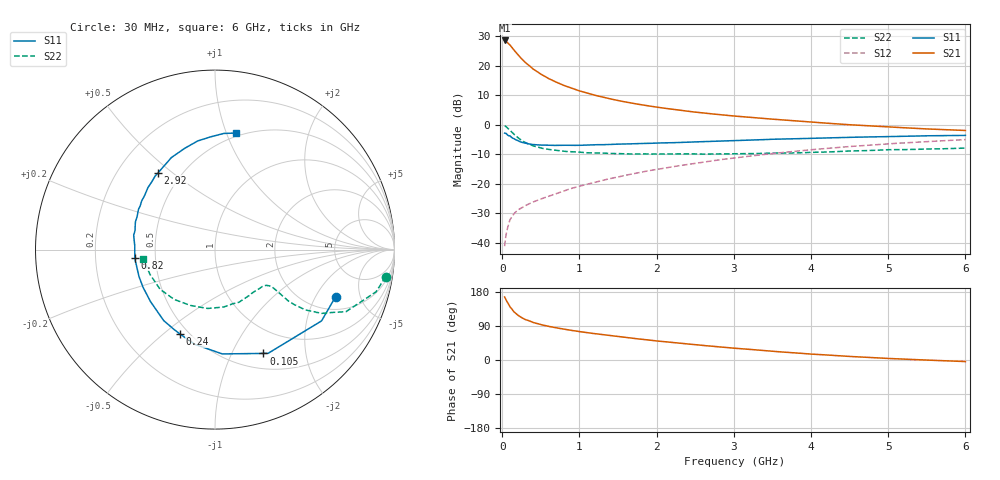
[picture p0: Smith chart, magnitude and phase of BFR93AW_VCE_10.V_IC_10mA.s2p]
! Infineon Technologies  Discrete & RF Semiconductors
! BFR93AW
! VCE =  10. V,  IC =  10 mA
! Common Emitter S-Parameters:  Nov 2015
# GHz  S  MA  R  50
!  f  S11  S21  S12  S22
! GHz  MAG  ANG  MAG  ANG  MAG  ANG  MAG  ANG
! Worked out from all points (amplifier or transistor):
!   206 points, 30 MHz to 6 GHz, reference 50 ohm
!   highest |S21| = 28.6 dB at 30 MHz (marker M1)
!   |S21| within 3 dB of that: start of sweep to 143 MHz
!   unconditionally stable (mu >= 1): 757.4 MHz to 2.205 GHz
!   at 200 MHz: K = 0.48, MSG = 26.4 dB, |S12| = -28.9 dB
!   at 1.56 GHz: K = 1.06, MAG = 11.1 dB, |S12| = -17.4 dB
!   at 6 GHz: K = 0.88, MSG = 1.5 dB, |S12| = -5.0 dB
!   S11 on the Smith chart (normalised r, x): 30 MHz: 2.71, -2.97; 105 MHz: 0.68, -1.33; 240 MHz: 0.45, -0.57; 820 MHz: 0.38, -0.04; 2.92 GHz: 0.37, +0.45; 6 GHz: 0.47, +1.08
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0.03  0.7213 -21.4  26.93 166.5  0.0087 77.3  0.963 -9.0
0.05  0.7142 -33.8  26.21 157.7  0.0139 72.4  0.9275 -14.7
0.1  0.6493 -62.9  22.53 140.1  0.0245 64.6  0.8082 -25.3
0.105  0.6384 -65.0  22.09 139.0  0.0251 63.7  0.7963 -25.8
0.15  0.5827 -86.0  18.58 127.3  0.0308 57.2  0.6919 -30.9
0.2  0.5399 -101.9  15.52 118.4  0.0357 54.5  0.6056 -33.7
0.24  0.5091 -112.6  13.58 113.2  0.038 53.4  0.554 -34.5
0.26  0.4997 -117.4  12.76 110.8  0.0394 53.4  0.5323 -34.8
0.3  0.4879 -125.9  11.34 106.6  0.0424 53.9  0.4972 -35.0
0.4  0.4615 -141.2  8.808 99.0  0.0489 55.5  0.4379 -34.1
0.5  0.4525 -152.5  7.214 93.2  0.0549 57.3  0.4019 -33.6
0.6  0.4493 -160.5  6.079 88.7  0.0612 59.1  0.3812 -33.2
0.7  0.4461 -167.4  5.273 84.8  0.0682 61.0  0.3675 -33.5
0.82  0.4489 -174.3  4.539 80.7  0.077 63.7  0.3528 -34.4
1.04  0.4495 175.8  3.626 73.9  0.0935 65.5  0.3392 -36.7
1.5  0.4696 160.7  2.572 61.8  0.1299 67.6  0.3245 -44.9
2.02  0.4902 146.4  1.973 49.9  0.1763 67.0  0.3187 -57.0
2.92  0.5321 126.6  1.441 32.7  0.2643 62.3  0.3216 -79.3
3.1  0.5405 122.9  1.372 29.7  0.2822 60.8  0.3228 -84.5
4.1  0.5929 105.1  1.086 14.5  0.3863 51.3  0.3415 -117.0
5.1  0.6326 90.7  0.905 3.3  0.4831 40.0  0.3772 -147.1
6  0.6594 79.9  0.799 -4.1  0.5595 29.5  0.4021 -172.2
